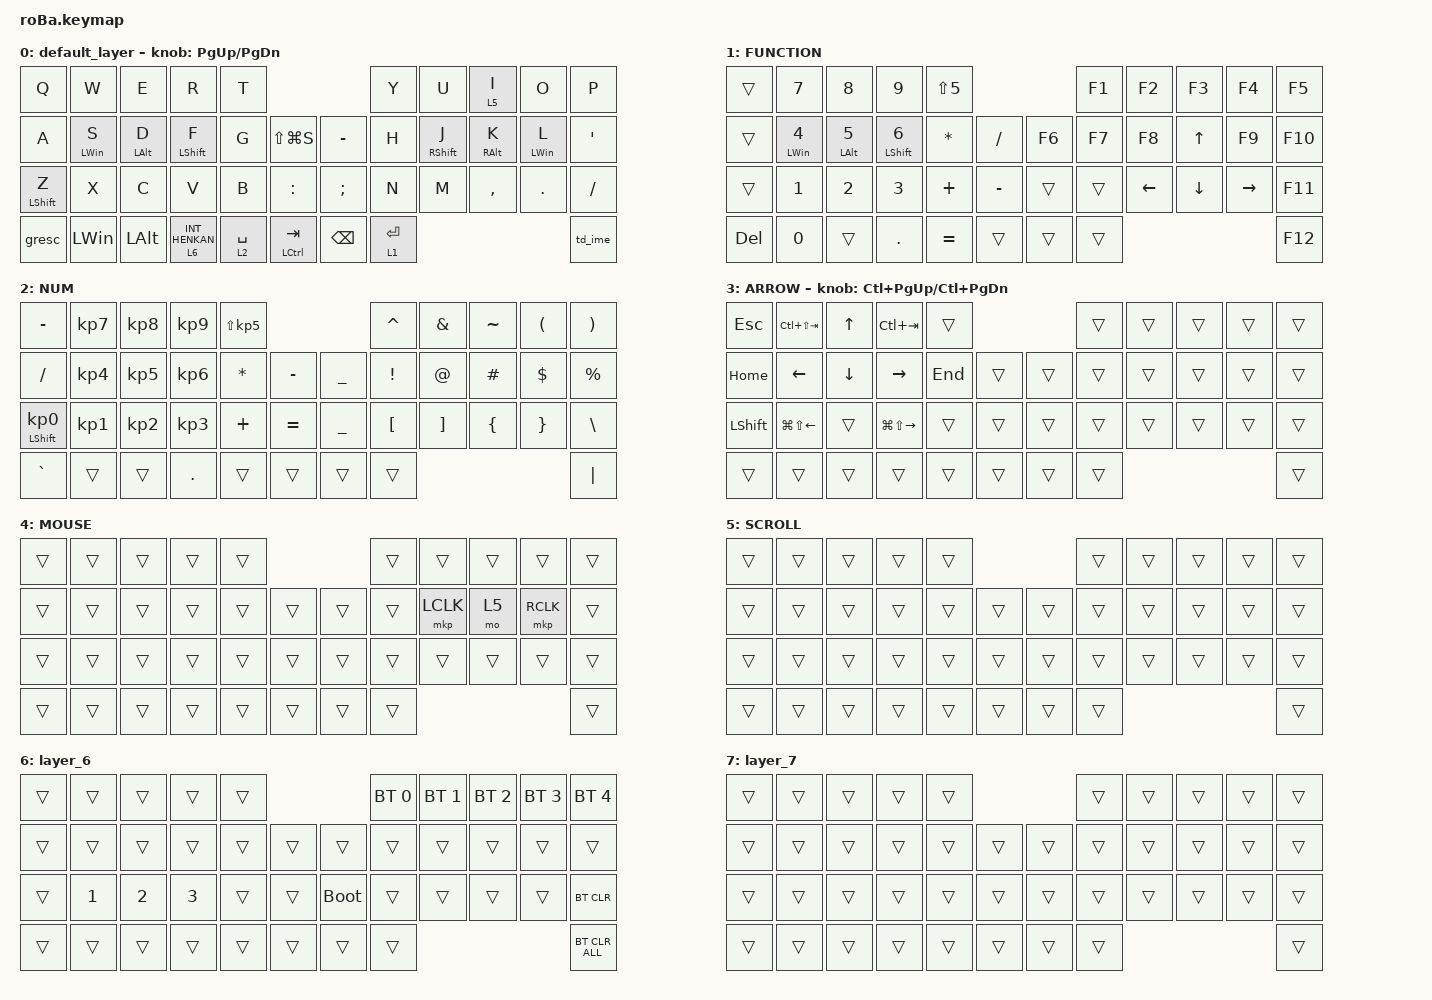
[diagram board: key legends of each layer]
#include <behaviors.dtsi>
#include <dt-bindings/zmk/bt.h>
#include <dt-bindings/zmk/keys.h>
#include <dt-bindings/zmk/pointing.h>

#define MOUSE 4
#define SCROLL 5
#define NUM 6

&mt {
    flavor = "balanced";
    quick-tap-ms = <0>;
};

/ {
    combos {
        compatible = "zmk,combos";

        double_quotation {
            bindings = <&kp DOUBLE_QUOTES>;
            key-positions = <20 21>;
        };

        hankakuzenkaku {
            bindings = <&kp LANG2>;
            key-positions = <12 13>;
        };

        hankakuzenkaku2 {
            bindings = <&kp LANG1>;
            key-positions = <18 19>;
        };
    };

    macros {
        to_layer_0: to_layer_0 {
            compatible = "zmk,behavior-macro-one-param";
            #binding-cells = <1>;
            bindings = <&to 0 &macro_param_1to1 &kp MACRO_PLACEHOLDER>;
            label = "TO_LAYER_0";
        };

        test_hankaku: test_hankaku {
            compatible = "zmk,behavior-macro";
            #binding-cells = <0>;
            bindings = <&kp LEFT_ALT &kp LEFT_SHIFT &kp GRAVE>, <&macro_press>;

            label = "TEST_HANKAKU";
        };
    };

    behaviors {
        td_ime: tap_dance_ime {
            compatible = "zmk,behavior-tap-dance";
            label = "TD_IME";
            #binding-cells = <0>;
            tapping-term-ms = <200>;
            bindings = <&kp LANG2>, <&kp LANG1>;
        };

        lt_to_layer_0: lt_to_layer_0 {
            compatible = "zmk,behavior-hold-tap";
            label = "LAYER_TAP_TO_0";
            bindings = <&mo>, <&to_layer_0>;

            #binding-cells = <2>;
            tapping-term-ms = <200>;
        };
    };

    keymap {
        compatible = "zmk,keymap";

        default_layer {
            bindings = <
&kp Q             &kp W           &kp E           &kp R                        &kp T                                                 &kp Y        &kp U              &lt 5 I          &kp O       &kp P
&kp A             &mt LEFT_WIN S  &mt LEFT_ALT D  &mt LEFT_SHIFT F             &kp G        &kp LS(LG(S))             &kp MINUS      &kp H        &mt RIGHT_SHIFT J  &mt RIGHT_ALT K  &mt LWIN L  &kp SQT
&mt LEFT_SHIFT Z  &kp X           &kp C           &kp V                        &kp B        &kp COLON                 &kp SEMICOLON  &kp N        &kp M              &kp COMMA        &kp DOT     &kp SLASH
&gresc            &kp LEFT_WIN    &kp LEFT_ALT    &lt_to_layer_0 6 INT_HENKAN  &lt 2 SPACE  &mt LEFT_CONTROL TAB      &kp BACKSPACE  &lt 1 ENTER                                                  &td_ime
            >;

            sensor-bindings = <&inc_dec_kp PG_UP PAGE_DOWN>;
        };

        FUNCTION {
            bindings = <
&trans      &kp NUMBER_7           &kp N8                 &kp NUMBER_9        &kp LS(N5)                           &kp F1  &kp F2          &kp F3          &kp F4     &kp F5
&trans      &mt LEFT_WIN NUMBER_4  &mt LEFT_ALT NUMBER_5  &mt LSHFT NUMBER_6  &kp ASTERISK  &kp SLASH      &kp F6  &kp F7  &kp F8          &kp UP_ARROW    &kp F9     &kp F10
&trans      &kp NUMBER_1           &kp NUMBER_2           &kp NUMBER_3        &kp PLUS      &kp MINUS      &trans  &trans  &kp LEFT_ARROW  &kp DOWN_ARROW  &kp RIGHT  &kp F11
&kp DELETE  &kp N0                 &trans                 &kp PERIOD          &kp EQUAL     &trans         &trans  &trans                                             &kp F12
            >;
        };

        NUM {
            bindings = <
&kp MINUS                   &kp KP_NUMBER_7  &kp KP_NUMBER_8  &kp KP_NUMBER_9  &kp LS(KP_NUMBER_5)                                 &kp CARET         &kp AMPERSAND      &kp TILDE       &kp LEFT_PARENTHESIS  &kp RIGHT_PARENTHESIS
&kp SLASH                   &kp KP_NUMBER_4  &kp KP_NUMBER_5  &kp KP_NUMBER_6  &kp ASTERISK         &kp MINUS      &kp UNDER       &kp EXCLAMATION   &kp AT_SIGN        &kp HASH        &kp DOLLAR            &kp PERCENT
&mt LEFT_SHIFT KP_NUMBER_0  &kp KP_NUMBER_1  &kp KP_NUMBER_2  &kp KP_NUMBER_3  &kp PLUS             &kp EQUAL      &kp UNDERSCORE  &kp LEFT_BRACKET  &kp RIGHT_BRACKET  &kp LEFT_BRACE  &kp RIGHT_BRACE       &kp BACKSLASH
&kp GRAVE                   &trans           &trans           &kp PERIOD       &trans               &trans         &trans          &trans                                                                     &kp PIPE
            >;
        };

        ARROW {
            bindings = <
&kp ESCAPE      &kp LC(LS(TAB))         &kp UP_ARROW    &kp LC(TAB)              &trans                       &trans  &trans  &trans  &trans  &trans
&kp HOME        &kp LEFT_ARROW          &kp DOWN_ARROW  &kp RIGHT_ARROW          &kp END  &trans      &trans  &trans  &trans  &trans  &trans  &trans
&kp LEFT_SHIFT  &kp LG(LS(LEFT_ARROW))  &trans          &kp LG(LS(RIGHT_ARROW))  &trans   &trans      &trans  &trans  &trans  &trans  &trans  &trans
&trans          &trans                  &trans          &trans                   &trans   &trans      &trans  &trans                          &trans
            >;

            sensor-bindings = <&inc_dec_kp LC(PAGE_UP) LC(PAGE_DOWN)>;
        };

        MOUSE {
            bindings = <
&trans  &trans  &trans  &trans  &trans                      &trans  &trans     &trans  &trans     &trans
&trans  &trans  &trans  &trans  &trans  &trans      &trans  &trans  &mkp LCLK  &mo 5   &mkp RCLK  &trans
&trans  &trans  &trans  &trans  &trans  &trans      &trans  &trans  &trans     &trans  &trans     &trans
&trans  &trans  &trans  &trans  &trans  &trans      &trans  &trans                                &trans
            >;
        };

        SCROLL {
            bindings = <
&trans  &trans  &trans  &trans  &trans                      &trans  &trans  &trans  &trans  &trans
&trans  &trans  &trans  &trans  &trans  &trans      &trans  &trans  &trans  &trans  &trans  &trans
&trans  &trans  &trans  &trans  &trans  &trans      &trans  &trans  &trans  &trans  &trans  &trans
&trans  &trans  &trans  &trans  &trans  &trans      &trans  &trans                          &trans
            >;
        };

        layer_6 {
            bindings = <
&trans  &trans        &trans        &trans        &trans                           &bt BT_SEL 0  &bt BT_SEL 1  &bt BT_SEL 2  &bt BT_SEL 3  &bt BT_SEL 4
&trans  &trans        &trans        &trans        &trans  &trans      &trans       &trans        &trans        &trans        &trans        &trans
&trans  &kp NUMBER_1  &kp NUMBER_2  &kp NUMBER_3  &trans  &trans      &bootloader  &trans        &trans        &trans        &trans        &bt BT_CLR
&trans  &trans        &trans        &trans        &trans  &trans      &trans       &trans                                                  &bt BT_CLR_ALL
            >;
        };

        layer_7 {
            bindings = <
&trans  &trans  &trans  &trans  &trans                      &trans  &trans  &trans  &trans  &trans
&trans  &trans  &trans  &trans  &trans  &trans      &trans  &trans  &trans  &trans  &trans  &trans
&trans  &trans  &trans  &trans  &trans  &trans      &trans  &trans  &trans  &trans  &trans  &trans
&trans  &trans  &trans  &trans  &trans  &trans      &trans  &trans                          &trans
            >;
        };
    };
};
